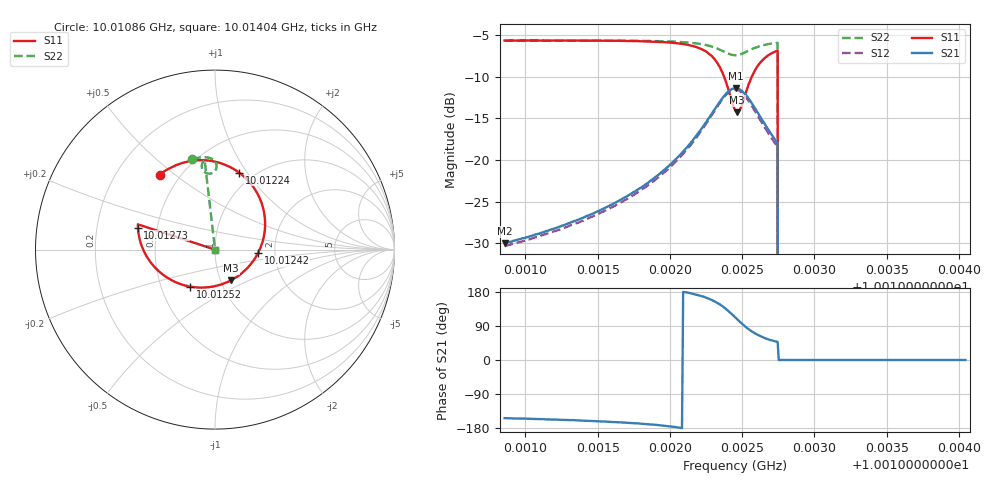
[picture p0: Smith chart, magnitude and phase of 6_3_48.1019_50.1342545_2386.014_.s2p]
#  HZ  S  RI  R  50.00
! Rohde & Schwarz Vector Network Analyzer
! Rohde-Schwarz,ZNB20-2Port,1311601062101988,3.16
! Created: UTC 12/23/2023, 3:35:11 AM
! freq[Hz]  re:S11  im:S11  re:S21  im:S21  re:S12  im:S12  re:S22  im:S22
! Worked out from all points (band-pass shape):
!   401 points, 10.01086 GHz to 10.01404 GHz, reference 50 ohm
!   highest |S21| = -11.41 dB at 10.01246 GHz (marker M1); lowest = -30.0 dB at 10.01086 GHz (marker M2)
!   |S21| within 3 dB of the highest: 10.01229 GHz to 10.01261 GHz (318.2 kHz wide, 0.00318 % of centre)
!   lowest |S11| = -14.3 dB at 10.01247 GHz (marker M3), VSWR 1.48, Z = 56.2 - j19.9 ohm
!   |S11| at or under -10 dB: 10.01237 GHz to 10.01257 GHz (193.2 kHz wide, 0.00193 % of centre); 10.01275 GHz to end of sweep
!   |S22| runs from - to -5.7 dB; largest |S21 - S12| = 0.012
!   S11 on the Smith chart (normalised r, x): 10.01086 GHz: 0.39, +0.44; 10.01224 GHz: 0.85, +0.92; 10.01242 GHz: 1.63, -0.07; 10.01252 GHz: 0.70, -0.31; 10.01273 GHz: 0.39, +0.12; 10.01404 GHz: 1.00, +0.00
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1.0010856e10  -0.3091 0.4175  -0.0283 -0.0142  -0.0265 -0.0149  -0.1267 0.5044
1.001139e10  -0.2503 0.4547  -0.042 -0.0152  -0.0396 -0.0169  -0.0888 0.5121
1.0011709e10  -0.1908 0.48  -0.0591 -0.0149  -0.056 -0.0176  -0.063 0.5144
1.0011924e10  -0.1214 0.4957  -0.0811 -0.0113  -0.0777 -0.0155  -0.0424 0.5135
1.00121e10  -0.0193 0.4936  -0.114 0.00122  -0.1107 -0.005  -0.0207 0.5074
1.0012243e10  0.1338 0.4295  -0.16 0.0408  -0.158 0.0316  0.000601 0.4899
1.0012331e10  0.25 0.2838  -0.1852 0.1069  -0.1875 0.0967  0.00879 0.4638
1.0012379e10  0.2792 0.1321  -0.1796 0.1646  -0.1845 0.1543  0.00357 0.4441
1.0012419e10  0.24 -0.0194  -0.1484 0.2165  -0.155 0.2078  -0.011 0.429
1.001245e10  0.1494 -0.1316  -0.1038 0.2481  -0.1114 0.2402  -0.0284 0.423
1.0012458e10  0.1259 -0.1492  -0.0939 0.252  -0.098 0.2455  -0.033 0.423
1.0012466e10  0.0904 -0.1707  -0.079 0.2561  -0.084 0.2495  -0.0379 0.4232
1.001249e10  -0.00856 -0.2055  -0.0393 0.259  -0.0447 0.2525  -0.0506 0.4271
1.0012522e10  -0.1372 -0.2065  0.00904 0.2468  0.00322 0.2395  -0.0642 0.4379
1.0012562e10  -0.2672 -0.1556  0.0521 0.2154  0.0454 0.2087  -0.0727 0.454
1.001261e10  -0.3615 -0.0671  0.0776 0.1743  0.0704 0.1684  -0.0736 0.4716
1.0012658e10  -0.4088 0.0214  0.0876 0.1376  0.0792 0.1342  -0.0695 0.485
1.0012729e10  -0.4296 0.1229  0.086 0.0998  0.0786 0.0972  -0.0602 0.4982
1.0012769e10  0 0  0 0  0 0  0 0
1.0012985e10  0 0  0 0  0 0  0 0
1.0013519e10  0 0  0 0  0 0  0 0
1.0014045e10  0 0  0 0  0 0  0 0
